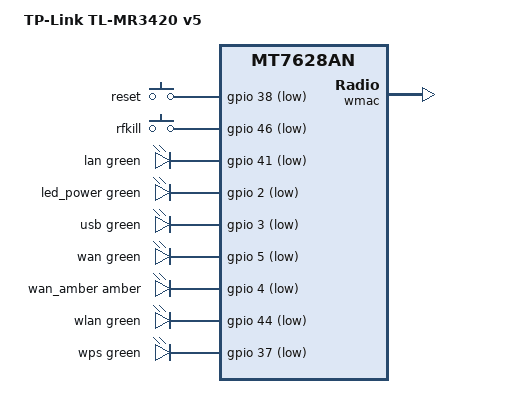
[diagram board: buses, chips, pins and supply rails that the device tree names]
#include <dt-bindings/leds/common.h>

#include "mt7628an_tplink_8m.dtsi"

/ {
	compatible = "tplink,tl-mr3420-v5", "mediatek,mt7628an-soc";
	model = "TP-Link TL-MR3420 v5";

	aliases {
		led-boot = &led_power;
		led-failsafe = &led_power;
		led-running = &led_power;
		led-upgrade = &led_power;
	};

	keys {
		compatible = "gpio-keys";

		reset {
			label = "reset";
			gpios = <&gpio 38 GPIO_ACTIVE_LOW>;
			linux,code = <KEY_RESTART>;
		};

		rfkill {
			label = "rfkill";
			gpios = <&gpio 46 GPIO_ACTIVE_LOW>;
			linux,code = <KEY_RFKILL>;
		};
	};

	leds {
		compatible = "gpio-leds";

		lan {
			function = LED_FUNCTION_LAN;
			color = <LED_COLOR_ID_GREEN>;
			gpios = <&gpio 41 GPIO_ACTIVE_LOW>;
		};

		led_power: power {
			function = LED_FUNCTION_POWER;
			color = <LED_COLOR_ID_GREEN>;
			gpios = <&gpio 2 GPIO_ACTIVE_LOW>;
		};

		usb {
			function = LED_FUNCTION_USB;
			color = <LED_COLOR_ID_GREEN>;
			gpios = <&gpio 3 GPIO_ACTIVE_LOW>;
			trigger-sources = <&ohci_port1>, <&ehci_port1>;
			linux,default-trigger = "usbport";
		};

		wan {
			function = LED_FUNCTION_WAN;
			color = <LED_COLOR_ID_GREEN>;
			gpios = <&gpio 5 GPIO_ACTIVE_LOW>;
		};

		wan_amber {
			function = LED_FUNCTION_WAN;
			color = <LED_COLOR_ID_AMBER>;
			gpios = <&gpio 4 GPIO_ACTIVE_LOW>;
		};

		wlan {
			function = LED_FUNCTION_WLAN;
			color = <LED_COLOR_ID_GREEN>;
			gpios = <&gpio 44 GPIO_ACTIVE_LOW>;
		};

		wps {
			function = LED_FUNCTION_WPS;
			color = <LED_COLOR_ID_GREEN>;
			gpios = <&gpio 37 GPIO_ACTIVE_LOW>;
		};
	};
};

&state_default {
	gpio {
		groups = "i2c", "i2s", "p2led_an", "refclk", "uart1", "wdt", "wled_an";
		function = "gpio";
	};
};

&wmac {
	status = "okay";

	nvmem-cells = <&eeprom_factory_20000>, <&macaddr_factory_f100 0>;
	nvmem-cell-names = "eeprom", "mac-address";
};

&ethernet {
	nvmem-cells = <&macaddr_factory_f100 0>;
	nvmem-cell-names = "mac-address";
};

&esw {
	mediatek,portmap = <0x3e>;
};
